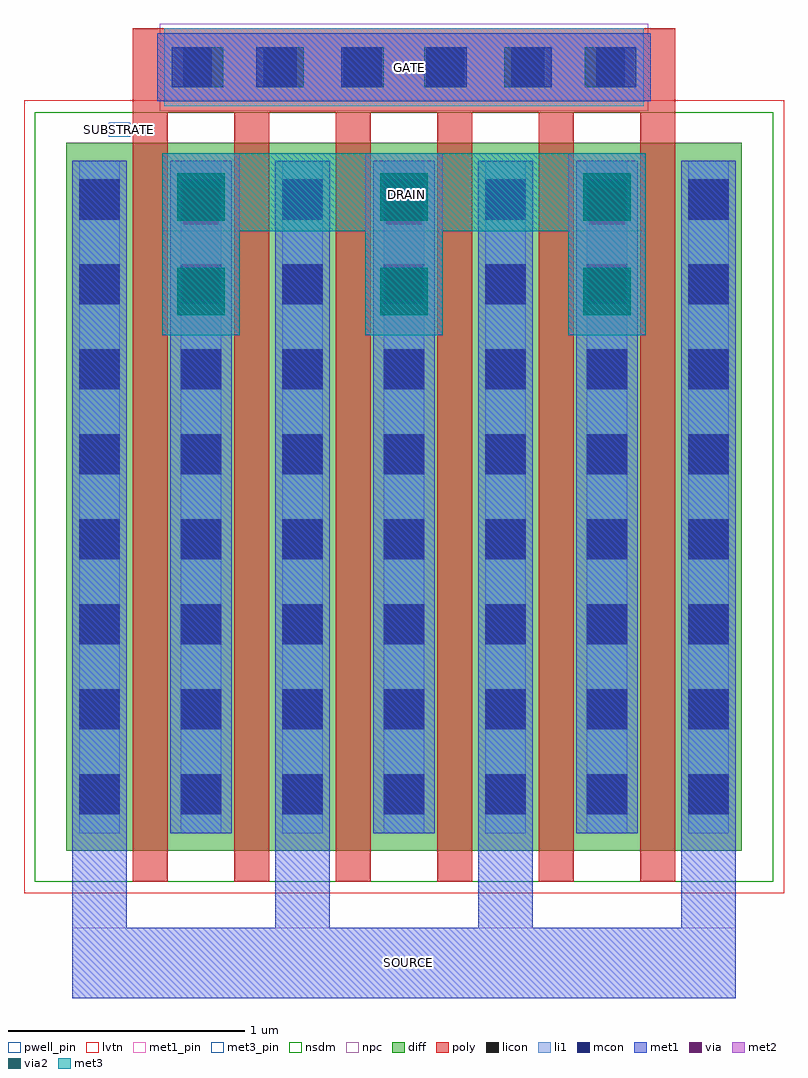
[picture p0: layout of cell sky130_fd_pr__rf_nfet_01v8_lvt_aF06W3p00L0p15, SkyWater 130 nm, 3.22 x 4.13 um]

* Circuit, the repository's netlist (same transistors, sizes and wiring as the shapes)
* Copyright 2020 The SkyWater PDK Authors
*
* Licensed under the Apache License, Version 2.0 (the "License");
* you may not use this file except in compliance with the License.
* You may obtain a copy of the License at
*
*     https://www.apache.org/licenses/LICENSE-2.0
*
* Unless required by applicable law or agreed to in writing, software
* distributed under the License is distributed on an "AS IS" BASIS,
* WITHOUT WARRANTIES OR CONDITIONS OF ANY KIND, either express or implied.
* See the License for the specific language governing permissions and
* limitations under the License.
*
* SPDX-License-Identifier: Apache-2.0


.subckt sky130_fd_pr__rf_nfet_01v8_lvt_aF06W3p00L0p15 DRAIN GATE SOURCE SUBSTRATE
X0 SOURCE GATE DRAIN SUBSTRATE sky130_fd_pr__nfet_01v8_lvt w=3e+06u l=150000u
X1 DRAIN GATE SOURCE SUBSTRATE sky130_fd_pr__nfet_01v8_lvt w=3e+06u l=150000u
X2 DRAIN GATE SOURCE SUBSTRATE sky130_fd_pr__nfet_01v8_lvt w=3e+06u l=150000u
X3 DRAIN GATE SOURCE SUBSTRATE sky130_fd_pr__nfet_01v8_lvt w=3e+06u l=150000u
X4 SOURCE GATE DRAIN SUBSTRATE sky130_fd_pr__nfet_01v8_lvt w=3e+06u l=150000u
X5 SOURCE GATE DRAIN SUBSTRATE sky130_fd_pr__nfet_01v8_lvt w=3e+06u l=150000u
.ends

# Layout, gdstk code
import gdstk
lib = gdstk.Library(unit=1e-6, precision=1e-09)
def R(c, l, rs):  # rectangles x0, y0, x1, y1
    for r in rs: c.add(gdstk.rectangle(r[:2], r[2:], *l))
def A(c, l, x, y, w, h, nx, ny, dx, dy):  # array of equal rectangles
    R(c, l, [(x+i*dx, y+j*dy, x+i*dx+w, y+j*dy+h) for i in range(nx) for j in range(ny)])
diff = (65, 20)
poly = (66, 20)
licon = (66, 44)
li1 = (67, 20)
mcon = (67, 44)
met1_pin = (68, 16)
met1 = (68, 20)
via = (68, 44)
met2 = (69, 20)
via2 = (69, 44)
met3_pin = (70, 16)
met3 = (70, 20)
nsdm = (93, 44)
npc = (95, 20)
pwell_pin = (122, 16)
lvtn = (125, 44)

sky130_fd_pr__rf_nfet_01 = lib.new_cell('sky130_fd_pr__rf_nfet_01v8_lvt_aF06W3p00L0p15')
A(sky130_fd_pr__rf_nfet_01, diff, 0.18, 0.18, 0.28, 3, 3, 1, 0.43, 0)
A(sky130_fd_pr__rf_nfet_01, diff, 0.21, 0.18, 0.25, 3, 4, 1, 0.86, 0)
A(sky130_fd_pr__rf_nfet_01, diff, 0.46, 0.18, 0.15, 3, 6, 1, 0.43, 0)
A(sky130_fd_pr__rf_nfet_01, diff, 1.04, 0.18, 0.28, 3, 3, 1, 0.43, 0)
A(sky130_fd_pr__rf_nfet_01, diff, 1.9, 0.18, 0.28, 3, 3, 1, 0.43, 0)
R(sky130_fd_pr__rf_nfet_01, diff, [(2.76,0.18,3.04,3.18)])
A(sky130_fd_pr__rf_nfet_01, poly, 0.46, 0.05, 0.15, 3.26, 6, 1, 0.43, 0)
A(sky130_fd_pr__rf_nfet_01, poly, 0.46, 0.05, 0.15, 0.13, 6, 2, 0.43, 3.13)
R(sky130_fd_pr__rf_nfet_01, poly, [(0.46,3.31,2.76,3.665), (0.595,3.335,2.625,3.665)])
A(sky130_fd_pr__rf_nfet_01, licon, 0.235, 0.335, 0.17, 0.17, 7, 8, 0.43, 0.36)
A(sky130_fd_pr__rf_nfet_01, licon, 0.675, 3.415, 0.17, 0.17, 6, 1, 0.34, 0)
A(sky130_fd_pr__rf_nfet_01, li1, 0.235, 0.255, 0.17, 2.85, 7, 1, 0.43, 0)
R(sky130_fd_pr__rf_nfet_01, li1, [(0.595,3.335,2.625,3.665), (0.625,3.415,2.595,3.585)])
A(sky130_fd_pr__rf_nfet_01, mcon, 0.235, 0.335, 0.17, 0.17, 7, 8, 0.43, 0.36)
A(sky130_fd_pr__rf_nfet_01, mcon, 0.625, 3.415, 0.17, 0.17, 6, 1, 0.36, 0)
R(sky130_fd_pr__rf_nfet_01, met1_pin, [(0.205,-0.445,3.015,-0.145), (0.565,3.355,2.655,3.645)])
A(sky130_fd_pr__rf_nfet_01, met1, 0.62, 0.275, 0.26, 0.65, 3, 1, 0.86, 0)
R(sky130_fd_pr__rf_nfet_01, met1, [(0.565,3.355,2.655,3.645)])
A(sky130_fd_pr__rf_nfet_01, via, 0.675, 2.515, 0.15, 0.15, 3, 2, 0.86, 0.32)
A(sky130_fd_pr__rf_nfet_01, met2, 0.585, 2.365, 0.33, 0.77, 3, 1, 0.86, 0)
A(sky130_fd_pr__rf_nfet_01, met2, 0.62, 2.43, 0.26, 0.64, 3, 1, 0.86, 0)
A(sky130_fd_pr__rf_nfet_01, via2, 0.65, 2.45, 0.2, 0.2, 3, 2, 0.86, 0.4)
R(sky130_fd_pr__rf_nfet_01, met3_pin, [(0.585,2.805,2.635,3.135)])
A(sky130_fd_pr__rf_nfet_01, met3, 0.585, 2.365, 0.33, 0.77, 3, 1, 0.86, 0)
A(sky130_fd_pr__rf_nfet_01, nsdm, 0.21, 0.05, 0.4, 3.26, 6, 1, 0.43, 0)
A(sky130_fd_pr__rf_nfet_01, nsdm, 0.48, 0.05, 0.54, 3.26, 5, 1, 0.43, 0)
R(sky130_fd_pr__rf_nfet_01, nsdm, [(0.045,0.05,0.59,3.31), (2.63,0.05,3.175,3.31)])
R(sky130_fd_pr__rf_nfet_01, npc, [(0.575,3.315,2.645,3.685)])
R(sky130_fd_pr__rf_nfet_01, pwell_pin, [(0.36,3.205,0.45,3.265)])
R(sky130_fd_pr__rf_nfet_01, lvtn, [(0,0,3.22,3.36)])
sky130_fd_pr__rf_nfet_01.add(gdstk.FlexPath([(0.585,2.97),(2.635,2.97)], 0.33, ends="flush", simple_path=True, layer=70, datatype=20))  # met3
sky130_fd_pr__rf_nfet_01.add(gdstk.FlexPath([(0.205,-0.295),(3.015,-0.295)], 0.3, ends="flush", simple_path=True, layer=68, datatype=20))  # met1
sky130_fd_pr__rf_nfet_01.add(gdstk.FlexPath([(2.9,3.105),(2.9,-0.445)], 0.23, ends="flush", simple_path=True, layer=68, datatype=20))  # met1
sky130_fd_pr__rf_nfet_01.add(gdstk.FlexPath([(2.04,3.105),(2.04,-0.445)], 0.23, ends="flush", simple_path=True, layer=68, datatype=20))  # met1
sky130_fd_pr__rf_nfet_01.add(gdstk.FlexPath([(1.18,3.105),(1.18,-0.445)], 0.23, ends="flush", simple_path=True, layer=68, datatype=20))  # met1
sky130_fd_pr__rf_nfet_01.add(gdstk.FlexPath([(2.47,3.105),(2.47,0.255)], 0.26, ends="flush", simple_path=True, layer=68, datatype=20))  # met1
sky130_fd_pr__rf_nfet_01.add(gdstk.FlexPath([(1.61,3.105),(1.61,0.255)], 0.26, ends="flush", simple_path=True, layer=68, datatype=20))  # met1
sky130_fd_pr__rf_nfet_01.add(gdstk.FlexPath([(0.75,3.105),(0.75,0.255)], 0.26, ends="flush", simple_path=True, layer=68, datatype=20))  # met1
sky130_fd_pr__rf_nfet_01.add(gdstk.FlexPath([(0.32,3.105),(0.32,-0.445)], 0.23, ends="flush", simple_path=True, layer=68, datatype=20))  # met1
sky130_fd_pr__rf_nfet_01.add(gdstk.Label('DRAIN', (1.62,2.96), layer=70, texttype=16))
sky130_fd_pr__rf_nfet_01.add(gdstk.Label('SOURCE', (1.63,-0.295), layer=68, texttype=16))
sky130_fd_pr__rf_nfet_01.add(gdstk.Label('GATE', (1.635,3.5), layer=68, texttype=16))
sky130_fd_pr__rf_nfet_01.add(gdstk.Label('SUBSTRATE', (0.405,3.235), layer=64, texttype=59))

lib.write_gds('sky130_fd_pr__rf_nfet_01v8_lvt_aF06W3p00L0p15.gds')
